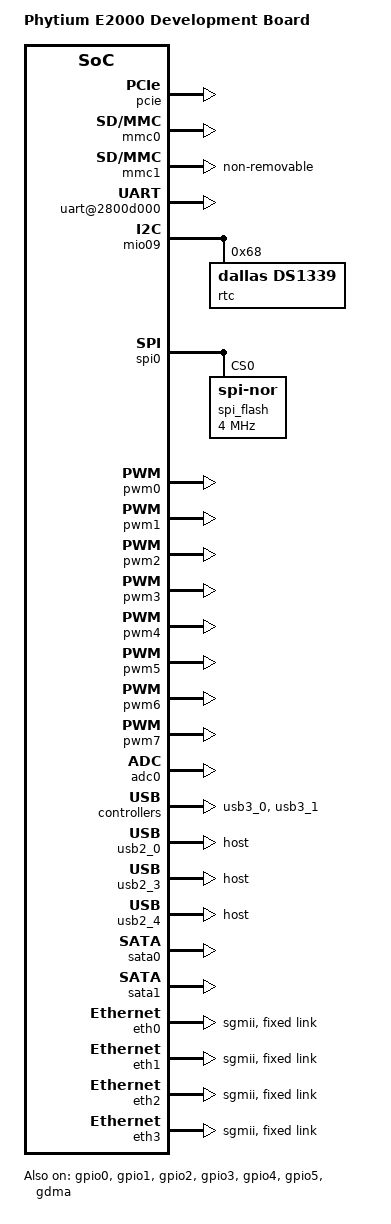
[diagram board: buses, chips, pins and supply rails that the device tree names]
// SPDX-License-Identifier: GPL-2.0+
/*
 * dts file for Phytium E2000 SoC
 *
 * Copyright (C) 2022, Phytium Technology Co., Ltd.
 */
/dts-v1/;

/ {
	model = "Phytium E2000 Development Board";
    compatible = "phytium,e2000";
    #address-cells = <2>;
    #size-cells = <2>;

	aliases {
		spi0 = &spi0;
		spi1 = &spi1;
		spi2 = &spi2;
		spi3 = &spi3;
	};

	pcie: pcie@40000000 {
		compatible = "phytium,pcie-host-1.0";
		device_type = "pci";
		#address-cells = <3>;
		#size-cells = <2>;
		reg = <0x0 0x40000000 0x0 0x10000000>;
		bus-range = <0x0 0xff>;
		ranges = <0x01000000 0x00 0x00000000 0x0  0x50000000 0x0  0x00F00000>,
				 <0x02000000 0x00 0x58000000 0x0  0x58000000 0x0  0x28000000>,
				 <0x43000000 0x10 0x00000000 0x10 0x00000000 0x10 0x00000000>;
	};

    psci {
        compatible = "arm,psci-1.0", "arm,psci-0.2", "arm,psci";
        method = "smc";
    };

	soc {
		compatible = "simple-bus";
		#address-cells = <2>;
		#size-cells = <2>;
		ranges;
		
		mmc0: mmc@28000000 {
			compatible = "phytium,phytium-mci";
			reg = <0x0 0x28000000 0x0 0x1000>;
			clock = <1200000000>;
			status = "okay";
		};

		mmc1: mmc@28001000 {
			compatible = "phytium,phytium-mci";
			reg = <0x0 0x28001000 0x0 0x1000>;
			clock = <1200000000>;
			status = "okay";
            non-removable;
		};

		uart@2800d000 {
			compatible = "arm,pl011", "arm,primecell";
			reg = <0x0 0x2800d000 0x0 0x1000>;
			//clock = <48000000>;
			clock = <100000000>;
		};
		
		mio09: mio09-i2c@28026000 {
			compatible = "phytium,phytium-i2c";
			reg = <0x0 0x28026000 0x0 0x1000>;
			clock = <48000000>;
			status = "okay";

			#address-cells = <1>;
			#size-cells = <0>;
			rtc@68 {
				compatible = "dallas,ds1339";
				reg = <0x68>;
				status = "okay";
			};
		};

		spi0: spi@2803a000 {
			compatible = "phytium,phytium-spi";
			reg = <0x0 0x2803a000 0x0 0x1000>;
			spi-max-frequency = <4000000>;
			clock = <48000000>;
			status = "okay";

			#address-cells = <1>;
			#size-cells = <0>;
			spi_flash@0 {
				compatible = "jedec,spi-nor";
				reg = <0>;
				spi-max-frequency = <4000000>;
			};
		};

		spi1: spi@2803b000 {
			compatible = "phytium,phytium-spi";
			reg = <0x0 0x2803b000 0x0 0x1000>;
			spi-max-frequency = <4000000>;
			clock = <48000000>;
			status = "disabled";
		};

		spi2: spi@2803c000 {
			compatible = "phytium,phytium-spi";
			reg = <0x0 0x2803c000 0x0 0x1000>;
			spi-max-frequency = <4000000>;
			clock = <48000000>;
			status = "disabled";
		};

		spi3: spi@2803d000 {
			compatible = "phytium,phytium-spi";
			reg = <0x0 0x2803d000 0x0 0x1000>;
			spi-max-frequency = <4000000>;
			clock = <48000000>;
			status = "disabled";
		};

		watchdog0: watchdog@28040000 {
			compatible = "phytium,phytium-wdt";
			reg = <0x0 0x28040000 0x0 0x1000>;
			timeout-sec = <600>;
			clock = <48000000>;
			status = "disabled";
		};

		watchdog1: watchdog@28042000 {
			compatible = "phytium,phytium-wdt";
			reg = <0x0 0x28042000 0x0 0x1000>;
			timeout-sec = <600>;
			clock = <48000000>;
			status = "disabled";
		};

		pwm0: pwm@2804a000 {
			compatible = "phytium,phytium-pwm";
			reg = <0x0 0x2804a000 0x0 0x1000>;
			status = "okay";
		};

		pwm1: pwm@2804b000 {
			compatible = "phytium,phytium-pwm";
			reg = <0x0 0x2804b000 0x0 0x1000>;
			status = "okay";
		};

		pwm2: pwm@2804c000 {
			compatible = "phytium,phytium-pwm";
			reg = <0x0 0x2804c000 0x0 0x1000>;
			status = "okay";
		};

		pwm3: pwm@2804d000 {
			compatible = "phytium,phytium-pwm";
			reg = <0x0 0x2804d000 0x0 0x1000>;
			status = "okay";
		};

		pwm4: pwm@2804e000 {
			compatible = "phytium,phytium-pwm";
			reg = <0x0 0x2804e000 0x0 0x1000>;
			status = "okay";
		};

		pwm5: pwm@2804f000 {
			compatible = "phytium,phytium-pwm";
			reg = <0x0 0x2804f000 0x0 0x1000>;
			status = "okay";
		};

		pwm6: pwm@28050000 {
			compatible = "phytium,phytium-pwm";
			reg = <0x0 0x28050000 0x0 0x1000>;
			status = "okay";
		};

		pwm7: pwm@28051000 {
			compatible = "phytium,phytium-pwm";
			reg = <0x0 0x28051000 0x0 0x1000>;
			status = "okay";
		};
		
		gpio0: gpio@28034000 {
			compatible = "phytium,phytium-gpio";
			reg = <0 0x28034000 0 0x1000>;
			gpio-ranges = <16>;
			status = "okay";
		};
		
		gpio1: gpio@28035000 {
			compatible = "phytium,phytium-gpio";
			reg = <0 0x28035000 0 0x1000>;
			gpio-ranges = <16>;
			status = "okay";
		};

		gpio2: gpio@28036000 {
			compatible = "phytium,phytium-gpio";
			reg = <0 0x28036000 0 0x1000>;
			gpio-ranges = <16>;
			status = "okay";
		};
		
		gpio3: gpio@28037000 {
			compatible = "phytium,phytium-gpio";
			reg = <0 0x28037000 0 0x1000>;
			gpio-ranges = <16>;
			status = "okay";
		};
		
		gpio4: gpio@28038000 {
			compatible = "phytium,phytium-gpio";
			reg = <0 0x28038000 0 0x1000>;
			gpio-ranges = <16>;
			status = "okay";
		};
		
		gpio5: gpio@28039000 {
			compatible = "phytium,phytium-gpio";
			reg = <0 0x28039000 0 0x1000>;
			gpio-ranges = <16>;
			status = "okay";
		};
		
		adc0: adc@2807b000 {
			compatible = "phytium,phytium-adc";
			reg = <0x0 0x2807b000 0x0 0x1000>;
			clock = <48000000>;
			status = "okay";
		};

		usb3_0: usb3@31a00000 {
			compatible = "phytium,phytium-xhci";
			reg = <0x0 0x31a08000 0x0 0x18000>;
			status = "okay";
		};

		usb3_1: usb3@31a20000 {
			compatible = "phytium,phytium-xhci";
			reg = <0x0 0x31a28000 0x0 0x18000>;
			status = "okay";
		};

        usb2_0: usb2@31800000 {
            compatible = "phytium,phytium-usb2";
            reg = <0x0 0x31800000 0x0 0x80000>,
                  <0x0 0x31990000 0x0 0x10000>;
            dr_mode = "host";
            status = "okay";
        };

        usb2_3: usb2@32800000 {
            compatible = "phytium,phytium-usb2";
            reg = <0x0 0x32800000 0x0 0x40000>,
                  <0x0 0x32880000 0x0 0x40000>;
            dr_mode = "host";
            status = "okay";
        };

        usb2_4: usb2@32840000 {
            compatible = "phytium,phytium-usb2";
            reg = <0x0 0x32840000 0x0 0x40000>,
                  <0x0 0x328c0000 0x0 0x40000>;
            dr_mode = "host";
            status = "okay";
        };

        sata0: sata@31a40000 {
			compatible = "phytium,phytium_ahci";
			reg = <0x0 0x31a40000 0x0 0x1000>;
			status = "okay";
		};

		sata1: sata@32014000 {
			compatible = "phytium,phytium_ahci";
			reg = <0x0 0x32014000 0x0 0x1000>;
			status = "okay";
		};

		eth0: ethernet@3200c000 {
			compatible = "phytium,phytium-eth";
			reg = <0x0 0x3200c000 0x0 0x2000>;
			clock = <48000000>;
			status = "okay";
			phy-mode = "sgmii";
			fixed-link{
				speed = <1000>;
				full-duplex;
			};
		};

		eth1: ethernet@3200e000 {
			compatible = "phytium,phytium-eth";
			reg = <0x0 0x3200e000 0x0 0x2000>;
			clock = <48000000>;
			status = "okay";
			phy-mode = "sgmii";
			fixed-link{
				speed = <1000>;
				full-duplex;
			};
		};

		eth2: ethernet@32010000 {
			compatible = "phytium,phytium-eth";
			reg = <0x0 0x32010000 0x0 0x2000>;
			clock = <48000000>;
			status = "okay";
			phy-mode = "sgmii";
			fixed-link{
				speed = <1000>;
				full-duplex;
			};
		};

		eth3: ethernet@32012000 {
			compatible = "phytium,phytium-eth";
			reg = <0x0 0x32012000 0x0 0x2000>;
			clock = <48000000>;
			status = "okay";
			phy-mode = "sgmii";
			//phy-mode = "rgmii";
			//phy-mode = "rmii";
			fixed-link{
				speed = <1000>;
				//speed = <100>;//rmii
				full-duplex;
			};
		};
		
		gdma: gdma@32B34000 {
			compatible = "phytium,phytium-gdma";
			#dma-cells = <1>;
			reg = <0x0 0x32B34000 0x0 0x1000>;
			dmas = <&gdma 0>;
			dma-names = "m2m";
			status = "okay";
		};
	};
};
